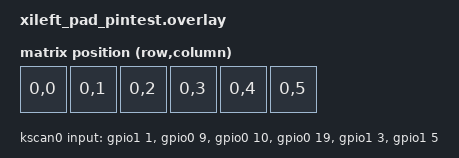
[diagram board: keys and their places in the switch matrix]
/*
 * SPDX-License-Identifier: MIT
 *
 * ★ 診断専用のテストファーム。常用しないこと。
 *
 * エンコーダ 3 個の A/B 計 6 本を「ただの直接 GPIO キー」として割り当てる。
 * エンコーダを回すと、生きているピンだけが数字を打ち込む:
 *
 *   エンコーダ1 → 1 と 2   (D13 P1.01 / D14 P0.09)
 *   エンコーダ2 → 3 と 4   (D15 P0.10 / D12 P0.19 ★ジャンパ先)
 *   エンコーダ3 → 5 と 6   (D17 P1.03 / D18 P1.05)
 *
 * 「3 は出るが 4 が出ない」なら D12(P0.19) が死んでいる、というように
 * ピン単位で切り分けられる。マトリクスとエンコーダのドライバは使わない。
 */

#include <dt-bindings/zmk/matrix_transform.h>
#include <physical_layouts.dtsi>

/ {
    chosen {
        zmk,kscan = &kscan0;
        zmk,physical-layout = &pintest_layout;
    };

    kscan0: kscan {
        compatible = "zmk,kscan-gpio-direct";
        wakeup-source;

        /* エンコーダは開放でプルアップ HIGH、接点が閉じると GND に落ちる */
        input-gpios
            = <&gpio1 1  (GPIO_ACTIVE_LOW | GPIO_PULL_UP)>   // 1: ROT0 D13 P1.01  enc1 A
            , <&gpio0 9  (GPIO_ACTIVE_LOW | GPIO_PULL_UP)>   // 2: ROT1 D14 P0.09  enc1 B
            , <&gpio0 10 (GPIO_ACTIVE_LOW | GPIO_PULL_UP)>   // 3: ROT2 D15 P0.10  enc2 A
            , <&gpio0 19 (GPIO_ACTIVE_LOW | GPIO_PULL_UP)>   // 4: ROT3 D12 P0.19  enc2 B ★
            , <&gpio1 3  (GPIO_ACTIVE_LOW | GPIO_PULL_UP)>   // 5: ROT4 D17 P1.03  enc3 A
            , <&gpio1 5  (GPIO_ACTIVE_LOW | GPIO_PULL_UP)>   // 6: ROT5 D18 P1.05  enc3 B
            ;
    };

    pintest_transform: keymap_transform0 {
        compatible = "zmk,matrix-transform";
        columns = <6>;
        rows = <1>;
        map = < RC(0,0) RC(0,1) RC(0,2) RC(0,3) RC(0,4) RC(0,5) >;
    };

    pintest_layout: physical_layout_0 {
        compatible = "zmk,physical-layout";
        display-name = "Pin Test";
        transform = <&pintest_transform>;

        keys  //                             w    h     x     y  rot   rx   ry
            = <&key_physical_attrs 100 100    0    0    0    0    0>
            , <&key_physical_attrs 100 100  100    0    0    0    0>
            , <&key_physical_attrs 100 100  200    0    0    0    0>
            , <&key_physical_attrs 100 100  300    0    0    0    0>
            , <&key_physical_attrs 100 100  400    0    0    0    0>
            , <&key_physical_attrs 100 100  500    0    0    0    0>
            ;
    };
};

/* ROT1 / ROT2 は NFC 兼用ピン (P0.09 / P0.10) なので GPIO として開放する */
&uicr {
    nfct-pins-as-gpios;
};

&xiao_i2c { status = "disabled"; };
&xiao_spi { status = "disabled"; };
